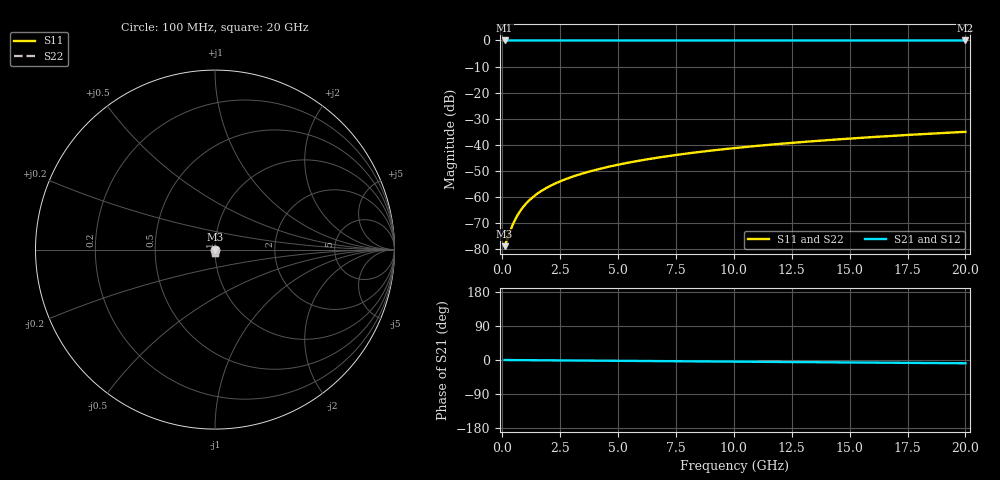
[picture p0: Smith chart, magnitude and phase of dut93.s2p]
! Touchstone file exported from HFSS 2026.1.0
!  File:  C:/ffzhzh/LocalFiles/Ansys_Project_Files/temp_train_TSV_93_1782959726_15332.aedt
!  Generated:  10:36:41 AM Jul  2, 2026
!  Design:  TSV
!  Project:  temp_train_TSV_93_1782959726_15332
! Variables:
!  h_bsmrdl = 2um
!  h_ox = 20um
!  h_rdl = 5um
!  h_sub = 87.56um
!  h_tmrdl = 5um
!  h_tsv = 87.56um
!  h_via = 3um
!  l_bsmrdl = 300um
!  l_sub = 424.18um
!  l_tmrdl = 200um
!  m_sub = 200um
!  pitch = 43.35um
!  r_tsv = 12.09um
!  s_tmrdl = 10um
!  w_bsmrdl = 18um
!  w_sub = 500um
!  w_tmrdl = 12um
!  x_tsv_center1 = 206um
!  x_tsv_center2 = 524um
!  x_tsv_center3 = 736um
!  x_tsv_center4 = 1054um
!  x_tsv_center5 = 1266um
!  x_tsv_center6 = 1584um
# GHz S MA R 50.000000
! Terminal data exported
! Port[1] = TSV1_1_T1
! Port[2] = TSV1_1_T2
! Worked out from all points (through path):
!   200 points, 100 MHz to 20 GHz, reference 50 ohm
!   highest |S21| = 0.00 dB at 100 MHz (marker M1); lowest = 0.0 dB at 20 GHz (marker M2)
!   group delay of S21, straight-line fit = 1.19 ps
!   lowest |S11| = -79.0 dB at 100 MHz (marker M3), VSWR 1.00, Z = 50 - j0.00414 ohm
!   |S11| at or under -10 dB: start of sweep to end of sweep
!   |S22| runs from -79.0 to -35.1 dB; largest |S21 - S12| = 3.1e-15
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0.1  0.0001125 -21.6  0.9999 -0.0  0.9999 -0.0  0.0001125 -21.6
! Gamma 0 0 0 0
! Port Impedance 50 0 50 0
0.4  0.0002559 -50.1  0.9998 -0.2  0.9998 -0.2  0.0002559 -50.1
0.5  0.0003234 -54.0  0.9998 -0.2  0.9998 -0.2  0.0003234 -54.0
0.6  0.0003964 -57.1  0.9998 -0.3  0.9998 -0.3  0.0003964 -57.1
0.7  0.0004733 -59.8  0.9998 -0.3  0.9998 -0.3  0.0004733 -59.8
0.9  0.0006341 -64.0  0.9997 -0.4  0.9997 -0.4  0.0006341 -64.0
1  0.0007164 -65.7  0.9997 -0.4  0.9997 -0.4  0.0007164 -65.7
1.2  0.0008828 -68.6  0.9997 -0.5  0.9997 -0.5  0.0008828 -68.6
1.4  0.00105 -70.9  0.9996 -0.6  0.9996 -0.6  0.00105 -70.9
1.6  0.001218 -72.8  0.9996 -0.7  0.9996 -0.7  0.001218 -72.8
2.1  0.001638 -76.2  0.9996 -0.9  0.9996 -0.9  0.001638 -76.2
2.7  0.002144 -78.7  0.9995 -1.2  0.9995 -1.2  0.002144 -78.7
3.5  0.002825 -80.9  0.9995 -1.5  0.9995 -1.5  0.002825 -80.9
4.2  0.003427 -82.3  0.9994 -1.8  0.9994 -1.8  0.003427 -82.3
5  0.004122 -83.5  0.9994 -2.2  0.9994 -2.2  0.004122 -83.5
5.9  0.004912 -84.6  0.9993 -2.6  0.9993 -2.6  0.004912 -84.6
6.8  0.005708 -85.6  0.9993 -2.9  0.9993 -2.9  0.005708 -85.6
8.3  0.007045 -87.0  0.9992 -3.6  0.9992 -3.6  0.007045 -87.0
10.1  0.008657 -88.5  0.9991 -4.4  0.9991 -4.4  0.008657 -88.5
13.4  0.01163 -90.7  0.9989 -5.8  0.9989 -5.8  0.01163 -90.7
16.7  0.01461 -92.7  0.9988 -7.2  0.9988 -7.2  0.01461 -92.7
20  0.01762 -94.5  0.9986 -8.6  0.9986 -8.6  0.01762 -94.5
